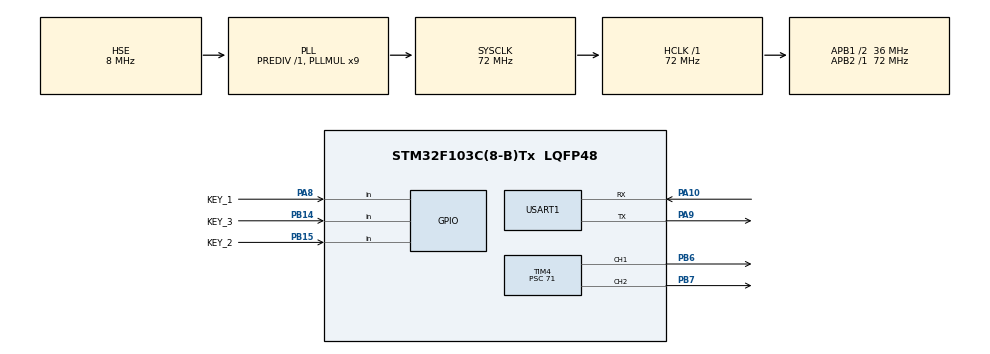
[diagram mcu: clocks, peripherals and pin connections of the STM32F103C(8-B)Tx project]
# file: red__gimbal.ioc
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Mcu.Family=STM32F1
Mcu.Name=STM32F103C(8-B)Tx
Mcu.Package=LQFP48
NVIC.PriorityGroup=NVIC_PRIORITYGROUP_4
NVIC.USART1_IRQn=true\:0\:0\:false\:false\:true\:true\:true\:true
PA10.Mode=Asynchronous
PA10.Signal=USART1_RX
PA13.Mode=Serial_Wire
PA13.Signal=SYS_JTMS-SWDIO
PA14.Mode=Serial_Wire
PA14.Signal=SYS_JTCK-SWCLK
PA8.GPIO_Label=KEY_1
PA8.GPIO_PuPd=GPIO_PULLUP
PA8.Signal=GPIO_Input
PA9.Mode=Asynchronous
PA9.Signal=USART1_TX
PB14.GPIO_Label=KEY_3
PB14.GPIO_PuPd=GPIO_PULLUP
PB14.Signal=GPIO_Input
PB15.GPIO_Label=KEY_2
PB15.GPIO_PuPd=GPIO_PULLUP
PB15.Signal=GPIO_Input
PB6.Signal=S_TIM4_CH1
PB7.Signal=S_TIM4_CH2
PD0-OSC_IN.Mode=HSE-External-Oscillator
PD0-OSC_IN.Signal=RCC_OSC_IN
PD1-OSC_OUT.Mode=HSE-External-Oscillator
PD1-OSC_OUT.Signal=RCC_OSC_OUT
ProjectManager.HeapSize=0x800
ProjectManager.StackSize=0x800
ProjectManager.TargetToolchain=MDK-ARM V5.32
RCC.AHBFreq_Value=72000000
RCC.APB1CLKDivider=RCC_HCLK_DIV2
RCC.APB1Freq_Value=36000000
RCC.APB1TimFreq_Value=72000000
RCC.APB2Freq_Value=72000000
RCC.APB2TimFreq_Value=72000000
RCC.HCLKFreq_Value=72000000
RCC.PLLMUL=RCC_PLL_MUL9
RCC.PLLSourceVirtual=RCC_PLLSOURCE_HSE
RCC.SYSCLKFreq_VALUE=72000000
RCC.SYSCLKSource=RCC_SYSCLKSOURCE_PLLCLK
RCC.USBFreq_Value=72000000
SH.S_TIM4_CH1.0=TIM4_CH1,PWM Generation1 CH1
SH.S_TIM4_CH2.0=TIM4_CH2,PWM Generation2 CH2
STMicroelectronics.X-CUBE-ALGOBUILD.1.3.0.LibraryCcDSPOoLibraryJjDSPOoLibrary=true
TIM4.AutoReloadPreload=TIM_AUTORELOAD_PRELOAD_ENABLE
TIM4.Channel-PWM\ Generation1\ CH1=TIM_CHANNEL_1
TIM4.Channel-PWM\ Generation2\ CH2=TIM_CHANNEL_2
TIM4.Period=19999
TIM4.Prescaler=71
USART1.VirtualMode=VM_ASYNC
VP_STMicroelectronics.X-CUBE-ALGOBUILD_VS_DSPOoLibraryJjLibrary_1.3.0_1.3.0.Mode=DSPOoLibraryJjLibrary
VP_TIM4_VS_ClockSourceINT.Mode=Internal
board=custom

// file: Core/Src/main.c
/* USER CODE BEGIN Header */
/**
  ******************************************************************************
  * @file           : main.c
  * @brief          : Main program body
  ******************************************************************************
  * @attention
  *
  * Copyright (c) 2023 STMicroelectronics.
  * All rights reserved.
  *
  * This software is licensed under terms that can be found in the LICENSE file
  * in the root directory of this software component.
  * If no LICENSE file comes with this software, it is provided AS-IS.
  *
  ******************************************************************************
  */
/* USER CODE END Header */
#include "main.h"
#include "tim.h"
#include "usart.h"
#include "gpio.h"

/* USER CODE BEGIN Includes */
#include "Servos.h"
#include "config.h"
#include "pid.h"
#include "arm_math.h"
#include "maths.h"
#include "struct_variables.h"
/* USER CODE END Includes */

/* USER CODE BEGIN PTD */
extern TIM_HandleTypeDef htim4;
/* USER CODE END PTD */

void SystemClock_Config(void);

/* USER CODE BEGIN 0 */
system_state_e system_state;
float yaw_angle = Y_OFFSET;
float pitch_angle = X_OFFSET;
pid_parameter_t pid_y;
pid_parameter_t pid_x;
float x=0;
float y=0;
float x_angle=0;
float y_angle=0;
#define x1 9.5f
#define y1 14.7f

float task1list[][2]=
{
//	0,0,
	25,25,
	0,0,
	127,127
};
float* task1list_p = &task1list[0][0];

float task2list[][2]=
{
//	0,0,
	26,0,
	26,26,
	-26,26,
	-26,-25,
	26,-25,
	26,1,
	0,1,
//	x1,y1+0.8,
//	-x1,y1+0.8,
//	-x1,-y1,
//	x1,-y1,
//	x1,y1+0.8,
	127,127
};
float* task2list_p = &task2list[0][0];

volatile uint8_t usart_even = 0;
int autolist[5][2]=
{
	0,0,
	0,0,
	0,0,
	0,0,
	127,127
};
int* autopoint = &autolist[0][0];
float autopointlist[][2]=
{
	0,0,
	0,0,
	0,0,
	0,0,
	0,0,
//	25,25,
	127,127
};
float* autopointpoint = &autopointlist[0][0];
uint8_t usart_rec[40];
uint8_t turn_flag=1;
GPIO_PinState KEY1;
GPIO_PinState KEY2;
GPIO_PinState KEY3;
/* USER CODE END 0 */

int main(void)
{

  /* MCU Configuration--------------------------------------------------------*/

  /* Reset of all peripherals, Initializes the Flash interface and the Systick. */
  HAL_Init();

  /* Configure the system clock */
  SystemClock_Config();

  /* Initialize all configured peripherals */
  MX_GPIO_Init();
  MX_TIM4_Init();
  MX_USART1_UART_Init();
  /* USER CODE BEGIN 2 */

	system_state = TASK1;

  HAL_UART_Receive_IT(&huart1, usart_rec, 28);
	/*-------------------------------------------------------------------------pid--------------------------------------------------------------------------*/
	PidInit(&pid_y,1,0,10,StepIn);
	PidInitMode(&pid_y,StepIn,0.0005f,0);
	pid_y.LastSetValue = 0.025f + PER_ANGLE*Y_OFFSET;
	PidInit(&pid_x,1,0,10,StepIn);
	PidInitMode(&pid_x,StepIn,0.0005f,0);
	pid_x.LastSetValue = 0.025f + PER_ANGLE*X_OFFSET;
	/*-------------------------------------------------------------------------servos--------------------------------------------------------------------------*/
	servos_start(&htim4,TIM_CHANNEL_1);//pitch
	servos_start(&htim4,TIM_CHANNEL_2);//yaw

  /* USER CODE END 2 */

  /* Infinite loop */
  /* USER CODE BEGIN WHILE */
	volatile uint32_t count=0;
	volatile int task3_stop = 0;
  while (1)
  {
		static system_state_e last_system_state;
		/*-------------------------------------------------------------------------key_deal--------------------------------------------------------------------------*/
		KEY1 = !HAL_GPIO_ReadPin(KEY_1_GPIO_Port,KEY_1_Pin);
		KEY2 = !HAL_GPIO_ReadPin(KEY_2_GPIO_Port,KEY_2_Pin);
		KEY3 = !HAL_GPIO_ReadPin(KEY_3_GPIO_Port,KEY_3_Pin);
		if(KEY1)
		{
			last_system_state = STOP;
			system_state = TASK1;
		}
		if(KEY3)
		{
			if(system_state == TASK2)
			{
				last_system_state = STOP;
				system_state = TASK3;
			}
			else
			{
				last_system_state = STOP;
				system_state = TASK2;
			}

		}
		if(KEY2)
		{
			if(system_state == TASK3)
			{
				task3_stop = 1;
//				servos_stop(&htim4,TIM_CHANNEL_1);//pitch
//				servos_stop(&htim4,TIM_CHANNEL_2);//yaw
			}
			else
			{
				last_system_state = STOP;
				system_state = STOP;
			}
		}
		else
		{
			if(system_state == TASK3)
			{
				task3_stop = 0;
//				servos_start(&htim4,TIM_CHANNEL_1);//pitch
//				servos_start(&htim4,TIM_CHANNEL_2);//yaw
			}
		}
		/*-------------------------------------------------------------------------data_deal--------------------------------------------------------------------------*/
		if(usart_even)
		{
			if(usart_rec[0]=='f'
			 &&usart_rec[1]=='f'
			&&usart_rec[26]=='e'
			&&usart_rec[27]=='e')
			{
//				if(system_state != TASK3)
//				{
					int* j = &autolist[0][0];
					for(int i = 2;i<27;i+=3)
					{
						*j=(usart_rec[i]-48)*100 + (usart_rec[i+1]-48)*10 + (usart_rec[i+2]-48)*1;
						j++;
					}

					j = &autolist[0][0];
					float* k = &autopointlist[0][0];
					for(int i = 0;i<4;i++)
					{
						*k++ = CAMERA_Y_GAIN *(-(*j++ * CAM2CAN_Y - 25   )) + CAMERA_Y_OFFSET;
						*k++ = CAMERA_X_GAIN *(-(*j++ * CAM2CAN_X - 25 -4)) + CAMERA_X_OFFSET;
					}
					autopointlist[4][0] = autopointlist[0][0];
					autopointlist[4][1] = autopointlist[0][1];
//				}
			}
			else
			{
				HAL_UART_AbortReceive_IT(&huart1);
				HAL_UART_Receive_IT(&huart1, usart_rec, 28);
			}
			usart_even=0;
		}

	/*-------------------------------------------------------------------------cmd--------------------------------------------------------------------------*/

		count++;
//		turn_flag=1;
		if(last_system_state!=system_state)
		{
			if(last_system_state == STOP )
			{
					servos_start(&htim4,TIM_CHANNEL_1);//pitch
					servos_start(&htim4,TIM_CHANNEL_2);//yaw
			}
			task1list_p = &task1list[0][0];
			task2list_p = &task2list[0][0];
			autopointpoint = &autopointlist[0][0];
			x=25;
			y=25;
			count=100000;
			turn_flag=1;
		}
		last_system_state = system_state;
		switch(system_state)
		{
			case TASK1:
			{
				if(count>=150 && turn_flag)
					{
					if(*task1list_p==127)
					{
						task1list_p = &task1list[0][0];
						turn_flag=0;
//						system_state = TASK2;
						count = 0;
						break;
					}
					y=*task1list_p++;
					x=*task1list_p++;

					count = 0;
				}
				break;
			}
			case TASK2:
			{
				if(count>=150 && turn_flag)
					{
						if(*task2list_p==127)
						{
							task2list_p = &task2list[0][0];
							turn_flag=0;
//							system_state = TASK3;
													count = 0;
						break;
						}
						y=*task2list_p++;
						x=*task2list_p++;

						count = 0;
					}
					break;
			}
			case TASK3:
			{
				static float k = 0;
				static float delat_x = 0;
				if(task3_stop == 0)
				{
					if(count>=350 && turn_flag)
					{
						if(*autopointpoint==127)
						{
							autopointpoint = &autopointlist[0][0];
							turn_flag=0;
	//						system_state = TASK1;
							count = 0;
							break;
						}
						k = (y-*autopointpoint) / (x- *(autopointpoint+1));
						delat_x = (*(autopointpoint+1) - x) / 350.0f;
						autopointpoint++;
						autopointpoint++;
						count = 0;
					}
					if(turn_flag)
					{
						x += delat_x;
						y += delat_x*k;
					}
				}
				else
				{
					count--;
				}
				break;
			}
			case STOP:
			{
				servos_stop(&htim4,TIM_CHANNEL_1);//pitch
				servos_stop(&htim4,TIM_CHANNEL_2);//yaw
				break;
			}
		}
		value_limit(x,-30.0f,30.0f);
		value_limit(y,-30.0f,30.0f);
		/*-------------------------------------------------------------------------yaw--------------------------------------------------------------------------*/
		y*=1.02f;
		y_angle = PI2RAD * atan2(y,100);
		float yaw_control=0.025f + PER_ANGLE * yaw_angle + PER_ANGLE * y_angle;
		float yaw_control_out;
		yaw_control_out = PidCalculate(&pid_y,yaw_control,0);
		PWMSetDutyRatio(&htim4,TIM_CHANNEL_2,yaw_control_out);
		y/=1.02f;
		/*-------------------------------------------------------------------------pitch--------------------------------------------------------------------------*/
		x*=0.95f;
		if(x>-tan((X_OFFSET-PITCH_ZERO_ANGLE)/PI2RAD)*100)
		{
			x_angle = PI2RAD *atan2(tan((X_OFFSET-PITCH_ZERO_ANGLE)/PI2RAD)*100 + x,100);
		}
		else
		{
			float temp_x;
			temp_x=x+tan((X_OFFSET-PITCH_ZERO_ANGLE)/PI2RAD)*100;
			x_angle = PI2RAD *atan2(temp_x,100);
		}
		float pitch_control=0.025f + PER_ANGLE*PITCH_ZERO_ANGLE + PER_ANGLE* x_angle;
		float pitch_control_out;
		pitch_control_out = PidCalculate(&pid_x,pitch_control,0);
		PWMSetDutyRatio(&htim4,TIM_CHANNEL_1,pitch_control_out);
		x/=0.95f;

		HAL_Delay(1);
    /* USER CODE END WHILE */

  }
}

void SystemClock_Config(void)
{
  RCC_OscInitTypeDef RCC_OscInitStruct = {0};
  RCC_ClkInitTypeDef RCC_ClkInitStruct = {0};

  /** Initializes the RCC Oscillators according to the specified parameters
  * in the RCC_OscInitTypeDef structure.
  */
  RCC_OscInitStruct.OscillatorType = RCC_OSCILLATORTYPE_HSE;
  RCC_OscInitStruct.HSEState = RCC_HSE_ON;
  RCC_OscInitStruct.HSEPredivValue = RCC_HSE_PREDIV_DIV1;
  RCC_OscInitStruct.HSIState = RCC_HSI_ON;
  RCC_OscInitStruct.PLL.PLLState = RCC_PLL_ON;
  RCC_OscInitStruct.PLL.PLLSource = RCC_PLLSOURCE_HSE;
  RCC_OscInitStruct.PLL.PLLMUL = RCC_PLL_MUL9;
  if (HAL_RCC_OscConfig(&RCC_OscInitStruct) != HAL_OK)
  {
    Error_Handler();
  }

  /** Initializes the CPU, AHB and APB buses clocks
  */
  RCC_ClkInitStruct.ClockType = RCC_CLOCKTYPE_HCLK|RCC_CLOCKTYPE_SYSCLK
                              |RCC_CLOCKTYPE_PCLK1|RCC_CLOCKTYPE_PCLK2;
  RCC_ClkInitStruct.SYSCLKSource = RCC_SYSCLKSOURCE_PLLCLK;
  RCC_ClkInitStruct.AHBCLKDivider = RCC_SYSCLK_DIV1;
  RCC_ClkInitStruct.APB1CLKDivider = RCC_HCLK_DIV2;
  RCC_ClkInitStruct.APB2CLKDivider = RCC_HCLK_DIV1;

  if (HAL_RCC_ClockConfig(&RCC_ClkInitStruct, FLASH_LATENCY_2) != HAL_OK)
  {
    Error_Handler();
  }
}

/* USER CODE BEGIN 4 */

void HAL_UART_RxCpltCallback(UART_HandleTypeDef *huart)
{
	if(huart->Instance == USART1){
		usart_even = 1;
		while(HAL_OK == HAL_UART_Receive_IT(&huart1, usart_rec, 28));
//		if(usart_rec[0]=='f')
//		{
//			volatile int i = 1;
//			HAL_StatusTypeDef state;
//			do
//			{
//				if(i>=36)
//				{
//					break;
//				}
//				state = HAL_UART_Receive(&huart1,&usart_rec[i],1,0);
//				i++;
//			}
//			while(state == HAL_OK);
//		}
//		while(HAL_OK == HAL_UART_Receive_IT(&huart1, usart_rec, 1));
	}
}
/* USER CODE END 4 */

void Error_Handler(void)
{
  __disable_irq();
  while (1)
  {
  }
}
